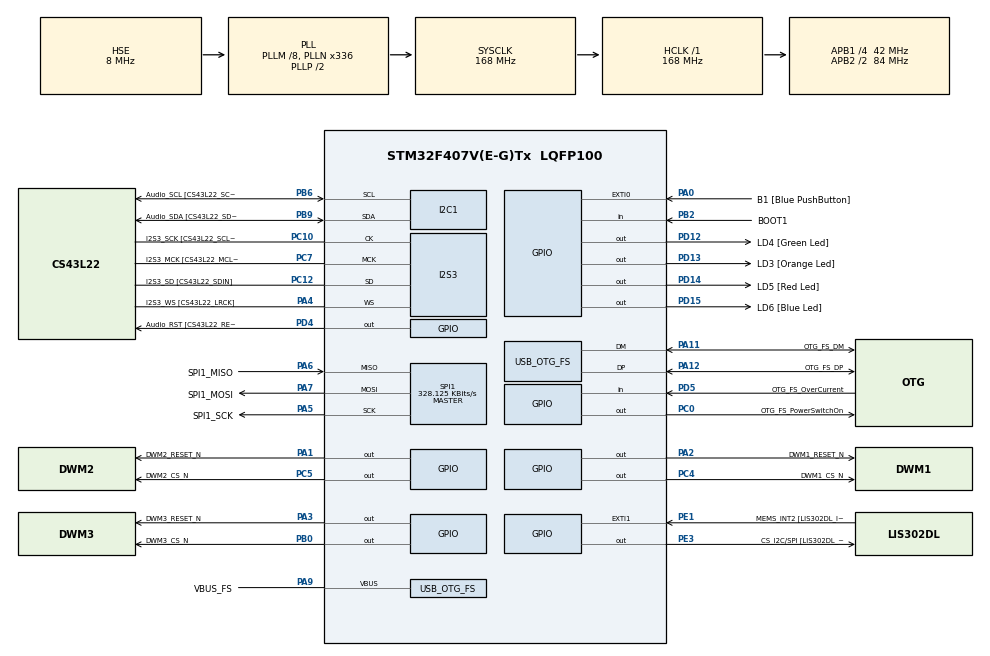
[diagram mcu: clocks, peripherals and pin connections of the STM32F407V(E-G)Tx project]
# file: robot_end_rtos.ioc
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FREERTOS.Tasks01=defaultTask,24,128,StartDefaultTask,Default,NULL,Dynamic,NULL,NULL
FREERTOS.configUSE_NEWLIB_REENTRANT=1
I2S3.AudioFreq-Half_Duplex_Master=I2S_AUDIOFREQ_96K
I2S3.ErrorAudioFreq=-2.34 %
I2S3.ErrorAudioFreq-Half_Duplex_Master=0.8 %
I2S3.FullDuplexMode=I2S_FULLDUPLEXMODE_DISABLE
I2S3.Instance=SPI$Index
I2S3.RealAudioFreq=93.75 KHz
I2S3.RealAudioFreq-Half_Duplex_Master=96.774 KHz
I2S3.VirtualMode=I2S_MODE_MASTER
Mcu.Family=STM32F4
Mcu.Name=STM32F407V(E-G)Tx
Mcu.Package=LQFP100
NVIC.OTG_FS_IRQn=true\:5\:0\:false\:false\:true\:true\:true\:true\:true
NVIC.PriorityGroup=NVIC_PRIORITYGROUP_4
NVIC.TIM1_UP_TIM10_IRQn=true\:15\:0\:false\:false\:true\:false\:false\:true\:true
NVIC.TimeBase=TIM1_UP_TIM10_IRQn
NVIC.TimeBaseIP=TIM1
PA0-WKUP.GPIO_Label=B1 [Blue PushButton]
PA0-WKUP.GPIO_ModeDefaultEXTI=GPIO_MODE_EVT_RISING
PA0-WKUP.GPIO_PuPd=GPIO_NOPULL
PA0-WKUP.Signal=GPXTI0
PA1.GPIO_Label=DWM2_RESET_N
PA1.GPIO_ModeDefaultOutputPP=GPIO_MODE_OUTPUT_OD
PA1.GPIO_PuPd=GPIO_PULLUP
PA1.Signal=GPIO_Output
PA10.GPIO_Label=OTG_FS_ID
PA10.GPIO_Mode=GPIO_MODE_AF_PP
PA10.GPIO_PuPd=GPIO_NOPULL
PA10.GPIO_Speed=GPIO_SPEED_FREQ_LOW
PA10.Signal=USB_OTG_FS_ID
PA11.GPIO_Label=OTG_FS_DM
PA11.GPIO_Mode=GPIO_MODE_AF_PP
PA11.GPIO_PuPd=GPIO_NOPULL
PA11.GPIO_Speed=GPIO_SPEED_FREQ_LOW
PA11.Mode=Host_Only
PA11.Signal=USB_OTG_FS_DM
PA12.GPIO_Label=OTG_FS_DP
PA12.GPIO_Mode=GPIO_MODE_AF_PP
PA12.GPIO_PuPd=GPIO_NOPULL
PA12.GPIO_Speed=GPIO_SPEED_FREQ_LOW
PA12.Mode=Host_Only
PA12.Signal=USB_OTG_FS_DP
PA13.GPIO_Label=SWDIO
PA13.Mode=Serial_Wire
PA13.Signal=SYS_JTMS-SWDIO
PA14.GPIO_Label=SWCLK
PA14.Mode=Serial_Wire
PA14.Signal=SYS_JTCK-SWCLK
PA2.GPIO_Label=DWM1_RESET_N
PA2.GPIO_ModeDefaultOutputPP=GPIO_MODE_OUTPUT_OD
PA2.GPIO_PuPd=GPIO_PULLUP
PA2.Signal=GPIO_Output
PA3.GPIO_Label=DWM3_RESET_N
PA3.GPIO_ModeDefaultOutputPP=GPIO_MODE_OUTPUT_OD
PA3.GPIO_PuPd=GPIO_PULLUP
PA3.Signal=GPIO_Output
PA4.GPIO_Label=I2S3_WS [CS43L22_LRCK]
PA4.GPIO_Mode=GPIO_MODE_AF_PP
PA4.GPIO_PuPd=GPIO_NOPULL
PA4.GPIO_Speed=GPIO_SPEED_FREQ_LOW
PA4.Mode=Half_Duplex_Master
PA4.Signal=I2S3_WS
PA5.GPIO_Label=SPI1_SCK
PA5.GPIO_Mode=GPIO_MODE_AF_PP
PA5.GPIO_PuPd=GPIO_NOPULL
PA5.GPIO_Speed=GPIO_SPEED_FREQ_VERY_HIGH
PA5.Mode=Full_Duplex_Master
PA5.Signal=SPI1_SCK
PA6.GPIO_Label=SPI1_MISO
PA6.GPIO_Mode=GPIO_MODE_AF_PP
PA6.GPIO_PuPd=GPIO_NOPULL
PA6.GPIO_Speed=GPIO_SPEED_FREQ_VERY_HIGH
PA6.Mode=Full_Duplex_Master
PA6.Signal=SPI1_MISO
PA7.GPIO_Label=SPI1_MOSI
PA7.GPIO_Mode=GPIO_MODE_AF_PP
PA7.GPIO_PuPd=GPIO_NOPULL
PA7.GPIO_Speed=GPIO_SPEED_FREQ_VERY_HIGH
PA7.Mode=Full_Duplex_Master
PA7.Signal=SPI1_MOSI
PA9.GPIO_Label=VBUS_FS
PA9.GPIO_Mode=GPIO_MODE_INPUT
PA9.GPIO_PuPd=GPIO_NOPULL
PA9.Mode=Activate_VBUS
PA9.Signal=USB_OTG_FS_VBUS
PB0.GPIO_Label=DWM3_CS_N
PB0.PinState=GPIO_PIN_SET
PB0.Signal=GPIO_Output
PB10.GPIO_Label=CLK_IN [MP45DT02_CLK]
PB10.GPIO_Mode=GPIO_MODE_AF_PP
PB10.GPIO_PuPd=GPIO_NOPULL
PB10.GPIO_Speed=GPIO_SPEED_FREQ_LOW
PB10.Signal=I2S2_CK
PB2.GPIO_Label=BOOT1
PB2.GPIO_Mode=GPIO_MODE_INPUT
PB2.GPIO_PuPd=GPIO_NOPULL
PB2.Signal=GPIO_Input
PB3.GPIO_Label=SWO
PB3.Signal=SYS_JTDO-SWO
PB6.GPIO_Label=Audio_SCL [CS43L22_SCL]
PB6.GPIO_Mode=GPIO_MODE_AF_OD
PB6.GPIO_Pu=GPIO_PULLUP
PB6.GPIO_PuPd=GPIO_NOPULL
PB6.GPIO_Speed=GPIO_SPEED_FREQ_LOW
PB6.Mode=I2C
PB6.Signal=I2C1_SCL
PB9.GPIO_Label=Audio_SDA [CS43L22_SDA]
PB9.GPIO_Mode=GPIO_MODE_AF_OD
PB9.GPIO_Pu=GPIO_PULLUP
PB9.GPIO_PuPd=GPIO_NOPULL
PB9.GPIO_Speed=GPIO_SPEED_FREQ_LOW
PB9.Mode=I2C
PB9.Signal=I2C1_SDA
PC0.GPIO_Label=OTG_FS_PowerSwitchOn
PC0.GPIO_PuPd=GPIO_NOPULL
PC0.GPIO_Speed=GPIO_SPEED_FREQ_LOW
PC0.PinState=GPIO_PIN_SET
PC0.Signal=GPIO_Output
PC10.GPIO_Label=I2S3_SCK [CS43L22_SCLK]
PC10.GPIO_Mode=GPIO_MODE_AF_PP
PC10.GPIO_PuPd=GPIO_NOPULL
PC10.GPIO_Speed=GPIO_SPEED_FREQ_LOW
PC10.Mode=Half_Duplex_Master
PC10.Signal=I2S3_CK
PC12.GPIO_Label=I2S3_SD [CS43L22_SDIN]
PC12.GPIO_Mode=GPIO_MODE_AF_PP
PC12.GPIO_PuPd=GPIO_NOPULL
PC12.GPIO_Speed=GPIO_SPEED_FREQ_LOW
PC12.Mode=Half_Duplex_Master
PC12.Signal=I2S3_SD
PC14-OSC32_IN.GPIO_Label=PC14-OSC32_IN
PC14-OSC32_IN.Mode=LSE-External-Oscillator
PC14-OSC32_IN.Signal=RCC_OSC32_IN
PC15-OSC32_OUT.GPIO_Label=PC15-OSC32_OUT
PC15-OSC32_OUT.Mode=LSE-External-Oscillator
PC15-OSC32_OUT.Signal=RCC_OSC32_OUT
PC3.GPIO_Label=PDM_OUT [MP45DT02_DOUT]
PC3.GPIO_Mode=GPIO_MODE_AF_PP
PC3.GPIO_PuPd=GPIO_NOPULL
PC3.GPIO_Speed=GPIO_SPEED_FREQ_LOW
PC3.Signal=I2S2_SD
PC4.GPIO_Label=DWM1_CS_N
PC4.PinState=GPIO_PIN_SET
PC4.Signal=GPIO_Output
PC5.GPIO_Label=DWM2_CS_N
PC5.PinState=GPIO_PIN_SET
PC5.Signal=GPIO_Output
PC7.GPIO_Label=I2S3_MCK [CS43L22_MCLK]
PC7.GPIO_Mode=GPIO_MODE_AF_PP
PC7.GPIO_PuPd=GPIO_NOPULL
PC7.GPIO_Speed=GPIO_SPEED_FREQ_LOW
PC7.Mode=Master_Clock_Activated
PC7.Signal=I2S3_MCK
PD12.GPIO_Label=LD4 [Green Led]
PD12.GPIO_PuPd=GPIO_NOPULL
PD12.GPIO_Speed=GPIO_SPEED_FREQ_LOW
PD12.Signal=GPIO_Output
PD13.GPIO_Label=LD3 [Orange Led]
PD13.GPIO_PuPd=GPIO_NOPULL
PD13.GPIO_Speed=GPIO_SPEED_FREQ_LOW
PD13.Signal=GPIO_Output
PD14.GPIO_Label=LD5 [Red Led]
PD14.GPIO_PuPd=GPIO_NOPULL
PD14.GPIO_Speed=GPIO_SPEED_FREQ_LOW
PD14.Signal=GPIO_Output
PD15.GPIO_Label=LD6 [Blue Led]
PD15.GPIO_PuPd=GPIO_NOPULL
PD15.GPIO_Speed=GPIO_SPEED_FREQ_LOW
PD15.Signal=GPIO_Output
PD4.GPIO_Label=Audio_RST [CS43L22_RESET]
PD4.GPIO_PuPd=GPIO_NOPULL
PD4.GPIO_Speed=GPIO_SPEED_FREQ_LOW
PD4.Signal=GPIO_Output
PD5.GPIO_Label=OTG_FS_OverCurrent
PD5.GPIO_Mode=GPIO_MODE_INPUT
PD5.GPIO_PuPd=GPIO_NOPULL
PD5.Signal=GPIO_Input
PE1.GPIO_Label=MEMS_INT2 [LIS302DL_INT2]
PE1.GPIO_ModeDefaultEXTI=GPIO_MODE_EVT_RISING
PE1.GPIO_PuPd=GPIO_NOPULL
PE1.Signal=GPXTI1
PE3.GPIO_Label=CS_I2C/SPI [LIS302DL_CS_I2C/SPI]
PE3.GPIO_PuPd=GPIO_NOPULL
PE3.GPIO_Speed=GPIO_SPEED_FREQ_LOW
PE3.Signal=GPIO_Output
PH0-OSC_IN.GPIO_Label=PH0-OSC_IN
PH0-OSC_IN.Mode=HSE-External-Oscillator
PH0-OSC_IN.Signal=RCC_OSC_IN
PH1-OSC_OUT.GPIO_Label=PH1-OSC_OUT
PH1-OSC_OUT.Mode=HSE-External-Oscillator
PH1-OSC_OUT.Signal=RCC_OSC_OUT
ProjectManager.HeapSize=0x200
ProjectManager.StackSize=0x400
ProjectManager.TargetToolchain=STM32CubeIDE
RCC.48MHZClocksFreq_Value=48000000
RCC.AHBFreq_Value=168000000
RCC.APB1CLKDivider=RCC_HCLK_DIV4
RCC.APB1Freq_Value=42000000
RCC.APB1TimFreq_Value=84000000
RCC.APB2CLKDivider=RCC_HCLK_DIV2
RCC.APB2Freq_Value=84000000
RCC.APB2TimFreq_Value=168000000
RCC.CortexFreq_Value=168000000
RCC.HCLKFreq_Value=168000000
RCC.HSE_VALUE=8000000
RCC.HSI_VALUE=16000000
RCC.PLLM=8
RCC.PLLN=336
RCC.PLLQ=7
RCC.SYSCLKFreq_VALUE=168000000
RCC.SYSCLKSource=RCC_SYSCLKSOURCE_PLLCLK
RCC.VCOOutputFreq_Value=336000000
SPI1.BaudRatePrescaler=SPI_BAUDRATEPRESCALER_256
SPI1.BaudRatePrescaler-Full_Duplex_Master=SPI_BAUDRATEPRESCALER_2
SPI1.CalculateBaudRate=328.125 KBits/s
SPI1.CalculateBaudRate-Full_Duplex_Master=42.0 MBits/s
SPI1.Direction=SPI_DIRECTION_2LINES
SPI1.Mode=SPI_MODE_MASTER
SPI1.Mode-Full_Duplex_Master=SPI_MODE_MASTER
SPI1.VirtualType=VM_MASTER
USB_HOST.BSP.number=1
USB_HOST.USBH_HandleTypeDef-CDC_FS=hUsbHostFS
USB_HOST.VirtualModeFS=Cdc
USB_HOST0.BSP.STBoard=false
USB_HOST0.BSP.api=Unknown
USB_HOST0.BSP.instance=PC0
USB_HOST0.BSP.ip=GPIO
USB_HOST0.BSP.mode=Output
USB_HOST0.BSP.name=Drive_VBUS_FS
USB_HOST0.BSP.solution=PC0
USB_OTG_FS.VirtualMode=Host_Only
USB_OTG_FS.phy_itface=HCD_PHY_EMBEDDED
VP_FREERTOS_VS_CMSIS_V2.Mode=CMSIS_V2
VP_SYS_VS_tim1.Mode=TIM1
VP_USB_HOST_VS_USB_HOST_CDC_FS.Mode=CDC_FS
board=STM32F407G-DISC1

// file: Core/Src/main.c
/* USER CODE BEGIN Header */
/**
  ******************************************************************************
  * @file           : main.c
  * @brief          : Main program body
  ******************************************************************************
  * @attention
  *
  * Copyright (c) 2026 STMicroelectronics.
  * All rights reserved.
  *
  * This software is licensed under terms that can be found in the LICENSE file
  * in the root directory of this software component.
  * If no LICENSE file comes with this software, it is provided AS-IS.
  *
  ******************************************************************************
  */
/* USER CODE END Header */
#include "main.h"
#include "cmsis_os.h"
#include "usb_host.h"

/* USER CODE BEGIN Includes */
#include "dwm1000.h"
/* USER CODE END Includes */

I2C_HandleTypeDef hi2c1;

I2S_HandleTypeDef hi2s3;

SPI_HandleTypeDef hspi1;

/* Definitions for defaultTask */
osThreadId_t defaultTaskHandle;
const osThreadAttr_t defaultTask_attributes = {
  .name = "defaultTask",
  .stack_size = 128 * 4,
  .priority = (osPriority_t) osPriorityNormal,
};
/* USER CODE BEGIN PV */

int test_counter = 0;
uint8_t device_id[4] = {0};
uint8_t device_id_low[2] = {0};
int txfrs_error_count = 0;

/* USER CODE END PV */

void SystemClock_Config(void);
static void MX_GPIO_Init(void);
static void MX_I2C1_Init(void);
static void MX_I2S3_Init(void);
static void MX_SPI1_Init(void);
void StartDefaultTask(void *argument);

/* USER CODE BEGIN 0 */

// DWM_MODULE_STRUCTURES
DWM_Module dwm1 = {
    .cs_port = DWM1_CS_N_GPIO_Port,
    .cs_pin  = DWM1_CS_N_Pin,
    .reset_port = DWM1_RESET_N_GPIO_Port,
    .reset_pin  = DWM1_RESET_N_Pin
};

DWM_Module dwm2 = {
    .cs_port = DWM2_CS_N_GPIO_Port,
    .cs_pin  = DWM2_CS_N_Pin,
    .reset_port = DWM2_RESET_N_GPIO_Port,
    .reset_pin  = DWM2_RESET_N_Pin
};

DWM_Module dwm3 = {
    .cs_port = DWM3_CS_N_GPIO_Port,
    .cs_pin  = DWM3_CS_N_Pin,
    .reset_port = DWM3_RESET_N_GPIO_Port,
    .reset_pin  = DWM3_RESET_N_Pin
};

/* USER CODE END 0 */

int main(void)
{

  /* MCU Configuration--------------------------------------------------------*/

  /* Reset of all peripherals, Initializes the Flash interface and the Systick. */
  HAL_Init();

  /* Configure the system clock */
  SystemClock_Config();

  /* Initialize all configured peripherals */
  MX_GPIO_Init();
  MX_I2C1_Init();
  MX_I2S3_Init();
  MX_SPI1_Init();

  /* Init scheduler */
  osKernelInitialize();

  /* Create the thread(s) */
  /* creation of defaultTask */
  defaultTaskHandle = osThreadNew(StartDefaultTask, NULL, &defaultTask_attributes);

  /* Start scheduler */
  osKernelStart();

  /* We should never get here as control is now taken by the scheduler */

  /* Infinite loop */
  while (1)
  {

  }
}

void SystemClock_Config(void)
{
  RCC_OscInitTypeDef RCC_OscInitStruct = {0};
  RCC_ClkInitTypeDef RCC_ClkInitStruct = {0};

  /** Configure the main internal regulator output voltage
  */
  __HAL_RCC_PWR_CLK_ENABLE();
  __HAL_PWR_VOLTAGESCALING_CONFIG(PWR_REGULATOR_VOLTAGE_SCALE1);

  /** Initializes the RCC Oscillators according to the specified parameters
  * in the RCC_OscInitTypeDef structure.
  */
  RCC_OscInitStruct.OscillatorType = RCC_OSCILLATORTYPE_HSE;
  RCC_OscInitStruct.HSEState = RCC_HSE_ON;
  RCC_OscInitStruct.PLL.PLLState = RCC_PLL_ON;
  RCC_OscInitStruct.PLL.PLLSource = RCC_PLLSOURCE_HSE;
  RCC_OscInitStruct.PLL.PLLM = 8;
  RCC_OscInitStruct.PLL.PLLN = 336;
  RCC_OscInitStruct.PLL.PLLP = RCC_PLLP_DIV2;
  RCC_OscInitStruct.PLL.PLLQ = 7;
  if (HAL_RCC_OscConfig(&RCC_OscInitStruct) != HAL_OK)
  {
    Error_Handler();
  }

  /** Initializes the CPU, AHB and APB buses clocks
  */
  RCC_ClkInitStruct.ClockType = RCC_CLOCKTYPE_HCLK|RCC_CLOCKTYPE_SYSCLK
                              |RCC_CLOCKTYPE_PCLK1|RCC_CLOCKTYPE_PCLK2;
  RCC_ClkInitStruct.SYSCLKSource = RCC_SYSCLKSOURCE_PLLCLK;
  RCC_ClkInitStruct.AHBCLKDivider = RCC_SYSCLK_DIV1;
  RCC_ClkInitStruct.APB1CLKDivider = RCC_HCLK_DIV4;
  RCC_ClkInitStruct.APB2CLKDivider = RCC_HCLK_DIV2;

  if (HAL_RCC_ClockConfig(&RCC_ClkInitStruct, FLASH_LATENCY_5) != HAL_OK)
  {
    Error_Handler();
  }
}

static void MX_I2C1_Init(void)
{

  hi2c1.Instance = I2C1;
  hi2c1.Init.ClockSpeed = 100000;
  hi2c1.Init.DutyCycle = I2C_DUTYCYCLE_2;
  hi2c1.Init.OwnAddress1 = 0;
  hi2c1.Init.AddressingMode = I2C_ADDRESSINGMODE_7BIT;
  hi2c1.Init.DualAddressMode = I2C_DUALADDRESS_DISABLE;
  hi2c1.Init.OwnAddress2 = 0;
  hi2c1.Init.GeneralCallMode = I2C_GENERALCALL_DISABLE;
  hi2c1.Init.NoStretchMode = I2C_NOSTRETCH_DISABLE;
  if (HAL_I2C_Init(&hi2c1) != HAL_OK)
  {
    Error_Handler();
  }

}

static void MX_I2S3_Init(void)
{

  hi2s3.Instance = SPI3;
  hi2s3.Init.Mode = I2S_MODE_MASTER_TX;
  hi2s3.Init.Standard = I2S_STANDARD_PHILIPS;
  hi2s3.Init.DataFormat = I2S_DATAFORMAT_16B;
  hi2s3.Init.MCLKOutput = I2S_MCLKOUTPUT_ENABLE;
  hi2s3.Init.AudioFreq = I2S_AUDIOFREQ_96K;
  hi2s3.Init.CPOL = I2S_CPOL_LOW;
  hi2s3.Init.ClockSource = I2S_CLOCK_PLL;
  hi2s3.Init.FullDuplexMode = I2S_FULLDUPLEXMODE_DISABLE;
  if (HAL_I2S_Init(&hi2s3) != HAL_OK)
  {
    Error_Handler();
  }

}

static void MX_SPI1_Init(void)
{

  /* SPI1 parameter configuration*/
  hspi1.Instance = SPI1;
  hspi1.Init.Mode = SPI_MODE_MASTER;
  hspi1.Init.Direction = SPI_DIRECTION_2LINES;
  hspi1.Init.DataSize = SPI_DATASIZE_8BIT;
  hspi1.Init.CLKPolarity = SPI_POLARITY_LOW;
  hspi1.Init.CLKPhase = SPI_PHASE_1EDGE;
  hspi1.Init.NSS = SPI_NSS_SOFT;
  hspi1.Init.BaudRatePrescaler = SPI_BAUDRATEPRESCALER_256;
  hspi1.Init.FirstBit = SPI_FIRSTBIT_MSB;
  hspi1.Init.TIMode = SPI_TIMODE_DISABLE;
  hspi1.Init.CRCCalculation = SPI_CRCCALCULATION_DISABLE;
  hspi1.Init.CRCPolynomial = 10;
  if (HAL_SPI_Init(&hspi1) != HAL_OK)
  {
    Error_Handler();
  }

}

static void MX_GPIO_Init(void)
{
  GPIO_InitTypeDef GPIO_InitStruct = {0};

  /* GPIO Ports Clock Enable */
  __HAL_RCC_GPIOE_CLK_ENABLE();
  __HAL_RCC_GPIOC_CLK_ENABLE();
  __HAL_RCC_GPIOH_CLK_ENABLE();
  __HAL_RCC_GPIOA_CLK_ENABLE();
  __HAL_RCC_GPIOB_CLK_ENABLE();
  __HAL_RCC_GPIOD_CLK_ENABLE();

  /*Configure GPIO pin Output Level */
  HAL_GPIO_WritePin(CS_I2C_SPI_GPIO_Port, CS_I2C_SPI_Pin, GPIO_PIN_RESET);

  /*Configure GPIO pin Output Level */
  HAL_GPIO_WritePin(GPIOC, OTG_FS_PowerSwitchOn_Pin|DWM1_CS_N_Pin|DWM2_CS_N_Pin, GPIO_PIN_SET);

  /*Configure GPIO pin Output Level */
  HAL_GPIO_WritePin(GPIOA, DWM2_RESET_N_Pin|DWM1_RESET_N_Pin|DWM3_RESET_N_Pin, GPIO_PIN_RESET);

  /*Configure GPIO pin Output Level */
  HAL_GPIO_WritePin(DWM3_CS_N_GPIO_Port, DWM3_CS_N_Pin, GPIO_PIN_SET);

  /*Configure GPIO pin Output Level */
  HAL_GPIO_WritePin(GPIOD, LD4_Pin|LD3_Pin|LD5_Pin|LD6_Pin
                          |Audio_RST_Pin, GPIO_PIN_RESET);

  /*Configure GPIO pin : CS_I2C_SPI_Pin */
  GPIO_InitStruct.Pin = CS_I2C_SPI_Pin;
  GPIO_InitStruct.Mode = GPIO_MODE_OUTPUT_PP;
  GPIO_InitStruct.Pull = GPIO_NOPULL;
  GPIO_InitStruct.Speed = GPIO_SPEED_FREQ_LOW;
  HAL_GPIO_Init(CS_I2C_SPI_GPIO_Port, &GPIO_InitStruct);

  /*Configure GPIO pins : OTG_FS_PowerSwitchOn_Pin DWM1_CS_N_Pin DWM2_CS_N_Pin */
  GPIO_InitStruct.Pin = OTG_FS_PowerSwitchOn_Pin|DWM1_CS_N_Pin|DWM2_CS_N_Pin;
  GPIO_InitStruct.Mode = GPIO_MODE_OUTPUT_PP;
  GPIO_InitStruct.Pull = GPIO_NOPULL;
  GPIO_InitStruct.Speed = GPIO_SPEED_FREQ_LOW;
  HAL_GPIO_Init(GPIOC, &GPIO_InitStruct);

  /*Configure GPIO pin : PDM_OUT_Pin */
  GPIO_InitStruct.Pin = PDM_OUT_Pin;
  GPIO_InitStruct.Mode = GPIO_MODE_AF_PP;
  GPIO_InitStruct.Pull = GPIO_NOPULL;
  GPIO_InitStruct.Speed = GPIO_SPEED_FREQ_LOW;
  GPIO_InitStruct.Alternate = GPIO_AF5_SPI2;
  HAL_GPIO_Init(PDM_OUT_GPIO_Port, &GPIO_InitStruct);

  /*Configure GPIO pin : B1_Pin */
  GPIO_InitStruct.Pin = B1_Pin;
  GPIO_InitStruct.Mode = GPIO_MODE_EVT_RISING;
  GPIO_InitStruct.Pull = GPIO_NOPULL;
  HAL_GPIO_Init(B1_GPIO_Port, &GPIO_InitStruct);

  /*Configure GPIO pins : DWM2_RESET_N_Pin DWM1_RESET_N_Pin DWM3_RESET_N_Pin */
  GPIO_InitStruct.Pin = DWM2_RESET_N_Pin|DWM1_RESET_N_Pin|DWM3_RESET_N_Pin;
  GPIO_InitStruct.Mode = GPIO_MODE_OUTPUT_OD;
  GPIO_InitStruct.Pull = GPIO_PULLUP;
  GPIO_InitStruct.Speed = GPIO_SPEED_FREQ_LOW;
  HAL_GPIO_Init(GPIOA, &GPIO_InitStruct);

  /*Configure GPIO pin : DWM3_CS_N_Pin */
  GPIO_InitStruct.Pin = DWM3_CS_N_Pin;
  GPIO_InitStruct.Mode = GPIO_MODE_OUTPUT_PP;
  GPIO_InitStruct.Pull = GPIO_NOPULL;
  GPIO_InitStruct.Speed = GPIO_SPEED_FREQ_LOW;
  HAL_GPIO_Init(DWM3_CS_N_GPIO_Port, &GPIO_InitStruct);

  /*Configure GPIO pin : BOOT1_Pin */
  GPIO_InitStruct.Pin = BOOT1_Pin;
  GPIO_InitStruct.Mode = GPIO_MODE_INPUT;
  GPIO_InitStruct.Pull = GPIO_NOPULL;
  HAL_GPIO_Init(BOOT1_GPIO_Port, &GPIO_InitStruct);

  /*Configure GPIO pin : CLK_IN_Pin */
  GPIO_InitStruct.Pin = CLK_IN_Pin;
  GPIO_InitStruct.Mode = GPIO_MODE_AF_PP;
  GPIO_InitStruct.Pull = GPIO_NOPULL;
  GPIO_InitStruct.Speed = GPIO_SPEED_FREQ_LOW;
  GPIO_InitStruct.Alternate = GPIO_AF5_SPI2;
  HAL_GPIO_Init(CLK_IN_GPIO_Port, &GPIO_InitStruct);

  /*Configure GPIO pins : LD4_Pin LD3_Pin LD5_Pin LD6_Pin
                           Audio_RST_Pin */
  GPIO_InitStruct.Pin = LD4_Pin|LD3_Pin|LD5_Pin|LD6_Pin
                          |Audio_RST_Pin;
  GPIO_InitStruct.Mode = GPIO_MODE_OUTPUT_PP;
  GPIO_InitStruct.Pull = GPIO_NOPULL;
  GPIO_InitStruct.Speed = GPIO_SPEED_FREQ_LOW;
  HAL_GPIO_Init(GPIOD, &GPIO_InitStruct);

  /*Configure GPIO pin : OTG_FS_OverCurrent_Pin */
  GPIO_InitStruct.Pin = OTG_FS_OverCurrent_Pin;
  GPIO_InitStruct.Mode = GPIO_MODE_INPUT;
  GPIO_InitStruct.Pull = GPIO_NOPULL;
  HAL_GPIO_Init(OTG_FS_OverCurrent_GPIO_Port, &GPIO_InitStruct);

  /*Configure GPIO pin : MEMS_INT2_Pin */
  GPIO_InitStruct.Pin = MEMS_INT2_Pin;
  GPIO_InitStruct.Mode = GPIO_MODE_EVT_RISING;
  GPIO_InitStruct.Pull = GPIO_NOPULL;
  HAL_GPIO_Init(MEMS_INT2_GPIO_Port, &GPIO_InitStruct);

}

void StartDefaultTask(void *argument)
{
  /* init code for USB_HOST */
  MX_USB_HOST_Init();
  /* USER CODE BEGIN 5 */
//  uint8_t device_id[4] = {0};
  uint8_t sys_event_status_reg[5] = {0};

  uint8_t clear_tx[5] = {0};
  clear_tx[0] = 0xF0;  // only TX bits

  dwm_reset(&dwm1);

  dwm_configure(&dwm1);
  /* Infinite loop */
  for(;;)
  {
	test_counter++;
	dwm_read_reg(&dwm1, 0x00, device_id, 4);
	dwm_read_reg_sub(&dwm1, 0x40, 0x02, device_id_low, 2);
	dwm_basic_transmit(&dwm1);
	HAL_Delay(10);
	dwm_read_reg(&dwm1, 0x0f, sys_event_status_reg, 5);
    if(!(sys_event_status_reg[0]&0x80)){
    	txfrs_error_count++;
    }

    //clear tx flags
    dwm_write_reg(&dwm1, 0x0F, clear_tx, 5);
	dwm_read_reg(&dwm1, 0x0f, sys_event_status_reg, 5);

    osDelay(10);
  }
  /* USER CODE END 5 */
}

void HAL_TIM_PeriodElapsedCallback(TIM_HandleTypeDef *htim)
{
  if (htim->Instance == TIM1)
  {
    HAL_IncTick();
  }
}

void Error_Handler(void)
{
  __disable_irq();
  while (1)
  {
  }
}
